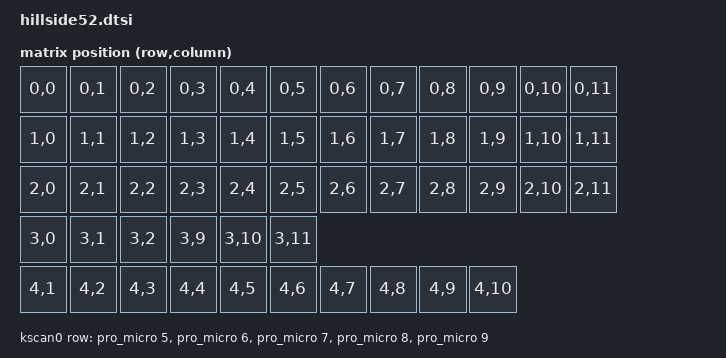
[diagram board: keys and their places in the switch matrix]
#include <dt-bindings/zmk/matrix_transform.h>
#include "hillside52-layouts.dtsi"

/ {
    chosen {
        zmk,kscan = &kscan0;
        zmk,physical-layout = &default_layout;
        zmk,physical-layout-position-map = &default_map;
        zmk,battery = &battery;
    };

    kscan0: kscan {
        compatible = "zmk,kscan-gpio-matrix";
        diode-direction = "col2row";
        wakeup-source;

        row-gpios
            = <&pro_micro 5 (GPIO_ACTIVE_HIGH | GPIO_PULL_DOWN)>
            , <&pro_micro 6 (GPIO_ACTIVE_HIGH | GPIO_PULL_DOWN)>
            , <&pro_micro 7 (GPIO_ACTIVE_HIGH | GPIO_PULL_DOWN)>
            , <&pro_micro 8 (GPIO_ACTIVE_HIGH | GPIO_PULL_DOWN)>
            , <&pro_micro 9 (GPIO_ACTIVE_HIGH | GPIO_PULL_DOWN)>
            ;
    };

    default_transform: matrix_transform  {
        compatible = "zmk,matrix-transform";
        columns = <12>;
        rows = <5>;
        map = <
            // ╭─────────────────────────────╮           ╭─────────────────────────────╮
            // │ 0,0  0,1  0,2 0,3 0,4 0,5   │           │   0,6 0,7  0,8 0,9 0,10 0,11│
            // │ 1,0  1,1  1,2 1,3 1,4 1,5   ╰─╮       ╭─╯   1,6 1,7  1,8 1,9 1,10 1,11│
            // │ 2,0  2,1  2,2 2,3 2,4 2,5 4,5 ╰──╮ ╭──╯ 4,6 2,6 2,7  2,8 2,9 2,10 2,11│
            // │ 3,0  3,1  3,2 ╭─╮ 4,1 4,2 4,3 4,4│ │4,7 4,8 4,9 4,10 ╭─╮ 3,9 3,10 3,11│
            // ╰───────────────╯ ╰────────────────╯ ╰─────────────────╯ ╰──────────────╯
            RC(0,0) RC(0,1) RC(0,2) RC(0,3) RC(0,4)  RC(0,5)  RC(0,6) RC(0,7) RC(0,8) RC(0,9) RC(0,10) RC(0,11)
            RC(1,0) RC(1,1) RC(1,2) RC(1,3) RC(1,4)  RC(1,5)  RC(1,6) RC(1,7) RC(1,8) RC(1,9) RC(1,10) RC(1,11)
            RC(2,0) RC(2,1) RC(2,2) RC(2,3) RC(2,4)  RC(2,5)  RC(2,6) RC(2,7) RC(2,8) RC(2,9) RC(2,10) RC(2,11)
            RC(3,0) RC(3,1) RC(3,2) RC(3,9) RC(3,10) RC(3,11)
            RC(4,1) RC(4,2) RC(4,3) RC(4,4) RC(4,5)  RC(4,6)  RC(4,7) RC(4,8) RC(4,9) RC(4,10)
        >;
    };

    battery: battery {
        compatible = "zmk,battery-voltage-divider";
        io-channels = <&adc 4>;
    };
};

//                               ╭─────────────────────────────────────────╮
//                               │========== ADDITIONAL FEATURES ==========│
// ╭─────────────────────────────╯─────────────────────────────────────────╰────╮
// │ chosen {                                                                   │
// │     zmk,kscan = &kscan0;                                                   │
// │     zmk,physical-layout = &alt_layout;                                     │
// │     zmk,physical-layout-position-map = &alt_map;                           │
// │     zmk,battery = &battery;                                                │
// │ };                                                                         │
// │                                                                            │
// │ left_encoder: encoder_left {                                               │
// │     compatible = "alps,ec11";                                              │
// │     label = "LEFT_ENCODER";                                                │
// │     a-gpios = <&pro_micro 20 (GPIO_ACTIVE_HIGH | GPIO_PULL_UP)>;           │
// │     b-gpios = <&pro_micro 21 (GPIO_ACTIVE_HIGH | GPIO_PULL_UP)>;           │
// │     resolution = <4>;                                                      │
// │     status = "disabled";                                                   │
// │ };                                                                         │
// │                                                                            │
// │ right_encoder: encoder_right {                                             │
// │     compatible = "alps,ec11";                                              │
// │     label = "RIGHT_ENCODER";                                               │
// │     a-gpios = <&pro_micro 21 (GPIO_ACTIVE_HIGH | GPIO_PULL_UP)>;           │
// │     b-gpios = <&pro_micro 20 (GPIO_ACTIVE_HIGH | GPIO_PULL_UP)>;           │
// │     resolution = <4>;                                                      │
// │     status = "disabled";                                                   │
// │ };                                                                         │
// │                                                                            │
// │ sensors {                                                                  │
// │     compatible = "zmk,keymap-sensors";                                     │
// │     sensors = <&left_encoder &right_encoder>;                              │
// │ };                                                                         │
// ╰────────────────────────────────────────────────────────────────────────────╯
